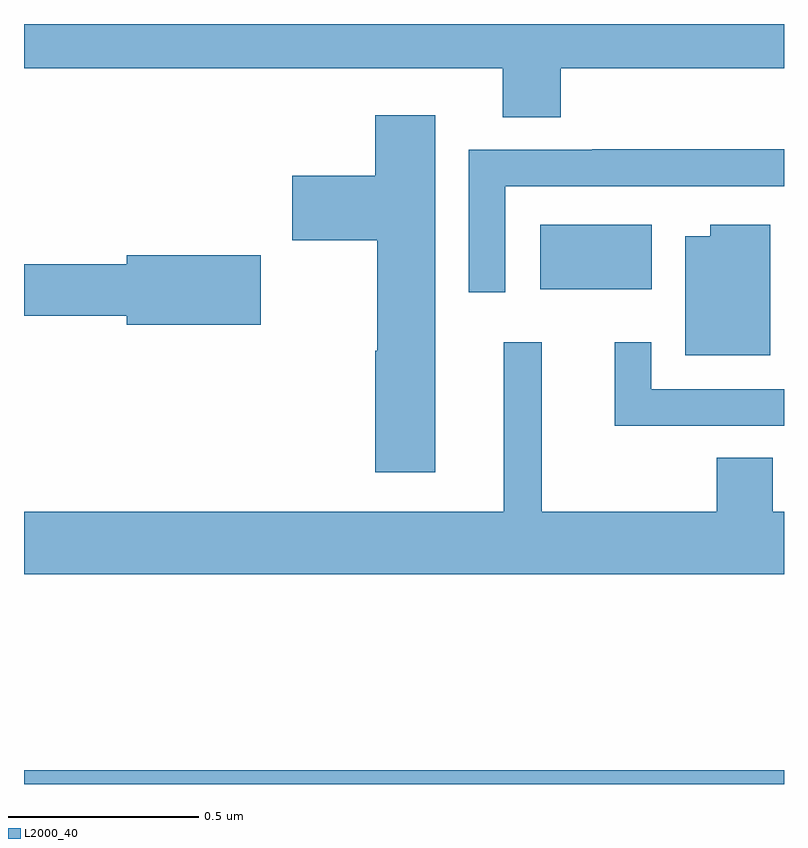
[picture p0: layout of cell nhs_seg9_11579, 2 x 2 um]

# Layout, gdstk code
import gdstk
lib = gdstk.Library(unit=1e-6, precision=1e-09)
def R(c, l, rs):  # rectangles x0, y0, x1, y1
    for r in rs: c.add(gdstk.rectangle(r[:2], r[2:], *l))
def P(c, l, *ps):  # polygons
    for p in ps: c.add(gdstk.Polygon(p, *l))
L2000_40 = (2000, 40)

nhs_seg9_11579 = lib.new_cell('nhs_seg9_11579')
R(nhs_seg9_11579, L2000_40, [(257,1230.5,259,1230.536), (258.359,1231.802,258.652,1231.972)])
P(nhs_seg9_11579, L2000_40, [(258.413,1232.384),(259,1232.384),(259,1232.5),(257,1232.5),(257,1232.384),(258.26,1232.384),(258.26,1232.254),(258.413,1232.254)],
  [(258.082,1232.26),(257.924,1232.26),(257.924,1232.101),(257.706,1232.101),(257.706,1231.931),(257.929,1231.931),(257.929,1231.64),(257.924,1231.64),(257.924,1231.32),(258.082,1231.32)],
  [(258.267,1232.073),(259,1232.073),(259,1232.171),(258.496,1232.171),(258.496,1232.169),(258.171,1232.169),(258.171,1231.794),(258.267,1231.794)],
  [(258.964,1231.972),(258.806,1231.972),(258.806,1231.942),(258.74,1231.942),(258.74,1231.628),(258.964,1231.628)],
  [(257.623,1231.892),(257.27,1231.892),(257.27,1231.868),(257,1231.868),(257,1231.732),(257.27,1231.732),(257.27,1231.709),(257.623,1231.709)],
  [(259,1231.216),(258.97,1231.216),(258.97,1231.358),(258.823,1231.358),(258.823,1231.216),(258.362,1231.216),(258.362,1231.663),(258.263,1231.663),(258.263,1231.216),(257,1231.216),(257,1231.052),(259,1231.052)],
  [(259,1231.539),(258.651,1231.539),(258.651,1231.663),(258.554,1231.663),(258.554,1231.443),(259,1231.443)])

lib.write_gds('nhs_seg9_11579.gds')
